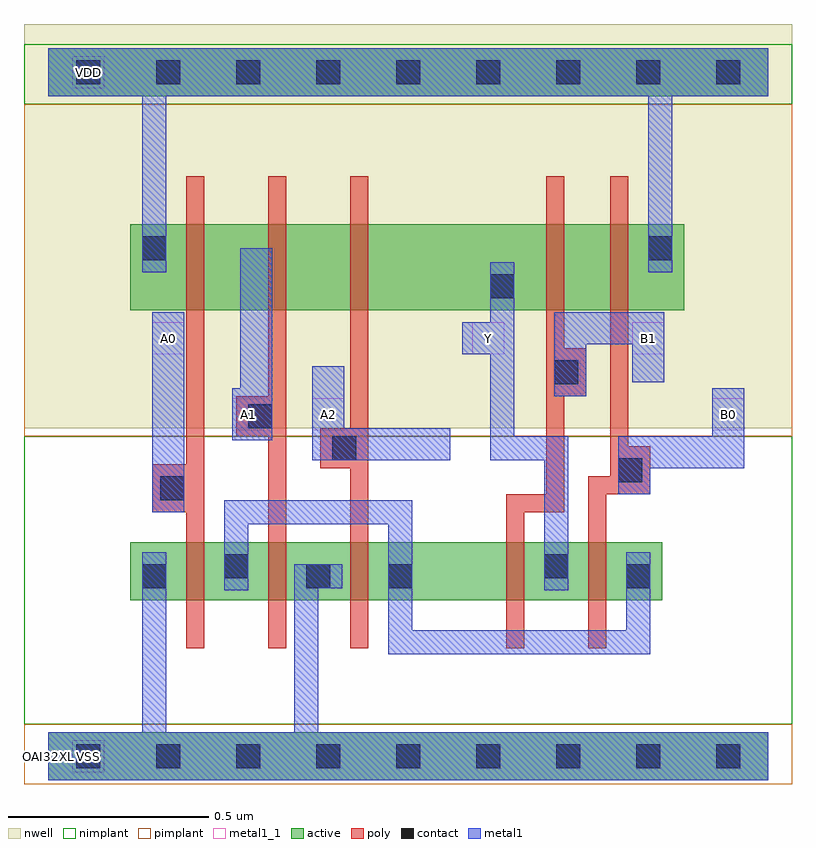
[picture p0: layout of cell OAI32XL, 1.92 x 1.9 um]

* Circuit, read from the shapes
.subckt OAI32XL A0 A1 A2 B0 B1 VDD VSS Y
M1 n1 A0 VSS VSS nfet w=0.145u l=0.045u
M2 VSS A1 n1 VSS nfet w=0.145u l=0.045u
M3 n1 A2 VSS VSS nfet w=0.145u l=0.045u
M4 Y B1 n1 VSS nfet w=0.145u l=0.045u
M5 n1 B0 Y VSS nfet w=0.145u l=0.045u
M6 n2 A0 VDD VDD pfet w=0.215u l=0.045u
M7 n3 A1 n2 VDD pfet w=0.215u l=0.045u
M8 Y A2 n3 VDD pfet w=0.215u l=0.045u
M9 n4 B1 Y VDD pfet w=0.215u l=0.045u
M10 VDD B0 n4 VDD pfet w=0.215u l=0.045u
.ends

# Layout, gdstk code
import gdstk
lib = gdstk.Library(unit=1e-6, precision=5e-10)
def R(c, l, rs):  # rectangles x0, y0, x1, y1
    for r in rs: c.add(gdstk.rectangle(r[:2], r[2:], *l))
def A(c, l, x, y, w, h, nx, ny, dx, dy):  # array of equal rectangles
    R(c, l, [(x+i*dx, y+j*dy, x+i*dx+w, y+j*dy+h) for i in range(nx) for j in range(ny)])
def P(c, l, *ps):  # polygons
    for p in ps: c.add(gdstk.Polygon(p, *l))
active = (1, 0)
nwell = (2, 0)
poly = (3, 0)
nimplant = (4, 0)
pimplant = (5, 0)
contact = (6, 0)
metal1 = (7, 0)
metal1_1 = (7, 1)

oai32xl = lib.new_cell('OAI32XL')
R(oai32xl, active, [(0,-0.06,1.8,0.06), (0.205,0.39,1.535,0.535), (0.205,1.115,1.59,1.33), (0,1.65,1.8,1.77)])
R(oai32xl, nwell, [(-0.06,0.82,1.86,1.83)])
P(oai32xl, poly, [(0.345,1.45),(0.39,1.45),(0.39,0.27),(0.345,0.27),(0.345,0.61),(0.26,0.61),(0.26,0.73),(0.345,0.73)],
  [(0.55,1.45),(0.595,1.45),(0.595,0.27),(0.55,0.27),(0.55,0.8),(0.47,0.8),(0.47,0.9),(0.55,0.9)],
  [(0.755,1.45),(0.8,1.45),(0.8,0.27),(0.755,0.27),(0.755,0.72),(0.68,0.72),(0.68,0.82),(0.755,0.82)],
  [(1.245,1.45),(1.29,1.45),(1.29,1.02),(1.345,1.02),(1.345,0.9),(1.29,0.9),(1.29,0.61),(1.19,0.61),(1.19,0.27),(1.145,0.27),(1.145,0.655),(1.245,0.655)],
  [(1.405,1.45),(1.45,1.45),(1.45,0.775),(1.505,0.775),(1.505,0.655),(1.395,0.655),(1.395,0.27),(1.35,0.27),(1.35,0.7),(1.405,0.7)])
R(oai32xl, nimplant, [(-0.06,0.08,1.86,0.8), (-0.06,1.63,1.86,1.78)])
R(oai32xl, pimplant, [(-0.06,-0.07,1.86,0.08), (-0.06,0.8,1.86,1.63)])
A(oai32xl, contact, 0.07, -0.03, 0.06, 0.06, 9, 2, 0.2, 1.71)
R(oai32xl, contact, [(0.235,0.42,0.295,0.48), (0.645,0.42,0.705,0.48), (0.85,0.42,0.91,0.48), (1.445,0.42,1.505,0.48), (0.44,0.445,0.5,0.505), (1.24,0.445,1.3,0.505), (0.28,0.64,0.34,0.7), (1.425,0.685,1.485,0.745), (0.71,0.74,0.77,0.8), (0.5,0.82,0.56,0.88), (1.265,0.93,1.325,0.99), (1.105,1.145,1.165,1.205), (0.235,1.24,0.295,1.3), (1.5,1.24,1.56,1.3)])
R(oai32xl, metal1, [(0.26,0.61,0.34,1.11)])
P(oai32xl, metal1, [(0,1.77),(1.8,1.77),(1.8,1.65),(1.56,1.65),(1.56,1.21),(1.5,1.21),(1.5,1.65),(0.295,1.65),(0.295,1.21),(0.235,1.21),(0.235,1.65),(0,1.65)],
  [(1.105,1.235),(1.165,1.235),(1.165,0.8),(1.3,0.8),(1.3,0.415),(1.24,0.415),(1.24,0.74),(1.105,0.74),(1.105,1.005),(1.035,1.005),(1.035,1.085),(1.105,1.085)],
  [(1.265,1.11),(1.54,1.11),(1.54,0.935),(1.46,0.935),(1.46,1.03),(1.345,1.03),(1.345,0.9),(1.265,0.9)],
  [(0.48,1.27),(0.56,1.27),(0.56,0.79),(0.46,0.79),(0.46,0.92),(0.48,0.92)],
  [(0.66,0.975),(0.74,0.975),(0.74,0.82),(1.005,0.82),(1.005,0.74),(0.66,0.74)],
  [(1.66,0.92),(1.74,0.92),(1.74,0.72),(1.505,0.72),(1.505,0.655),(1.425,0.655),(1.425,0.8),(1.66,0.8)],
  [(0.44,0.64),(0.91,0.64),(0.91,0.315),(1.445,0.315),(1.445,0.51),(1.505,0.51),(1.505,0.255),(0.85,0.255),(0.85,0.58),(0.5,0.58),(0.5,0.415),(0.44,0.415)],
  [(0.235,0.51),(0.295,0.51),(0.295,0.06),(0.615,0.06),(0.615,0.48),(0.735,0.48),(0.735,0.42),(0.675,0.42),(0.675,0.06),(1.8,0.06),(1.8,-0.06),(0,-0.06),(0,0.06),(0.235,0.06)])
R(oai32xl, metal1_1, [(0.06,-0.04,0.14,0.04), (0.46,0.815,0.54,0.895), (0.66,0.815,0.74,0.895), (1.66,0.815,1.74,0.895), (0.26,1.005,0.34,1.085), (1.06,1.005,1.14,1.085), (1.46,1.005,1.54,1.085), (0.06,1.67,0.14,1.75)])
oai32xl.add(gdstk.Label('Y', (1.1,1.045), layer=7, texttype=1))
oai32xl.add(gdstk.Label('A0', (0.3,1.045), layer=7, texttype=1))
oai32xl.add(gdstk.Label('A1', (0.5,0.855), layer=7, texttype=1))
oai32xl.add(gdstk.Label('B1', (1.5,1.045), layer=7, texttype=1))
oai32xl.add(gdstk.Label('A2', (0.7,0.855), layer=7, texttype=1))
oai32xl.add(gdstk.Label('B0', (1.7,0.855), layer=7, texttype=1))
oai32xl.add(gdstk.Label('VDD', (0.1,1.71), layer=7, texttype=1))
oai32xl.add(gdstk.Label('VSS', (0.1,0), layer=7, texttype=1))
oai32xl.add(gdstk.Label('OAI32XL', (0,0), layer=63, texttype=0))

lib.write_gds('OAI32XL.gds')
